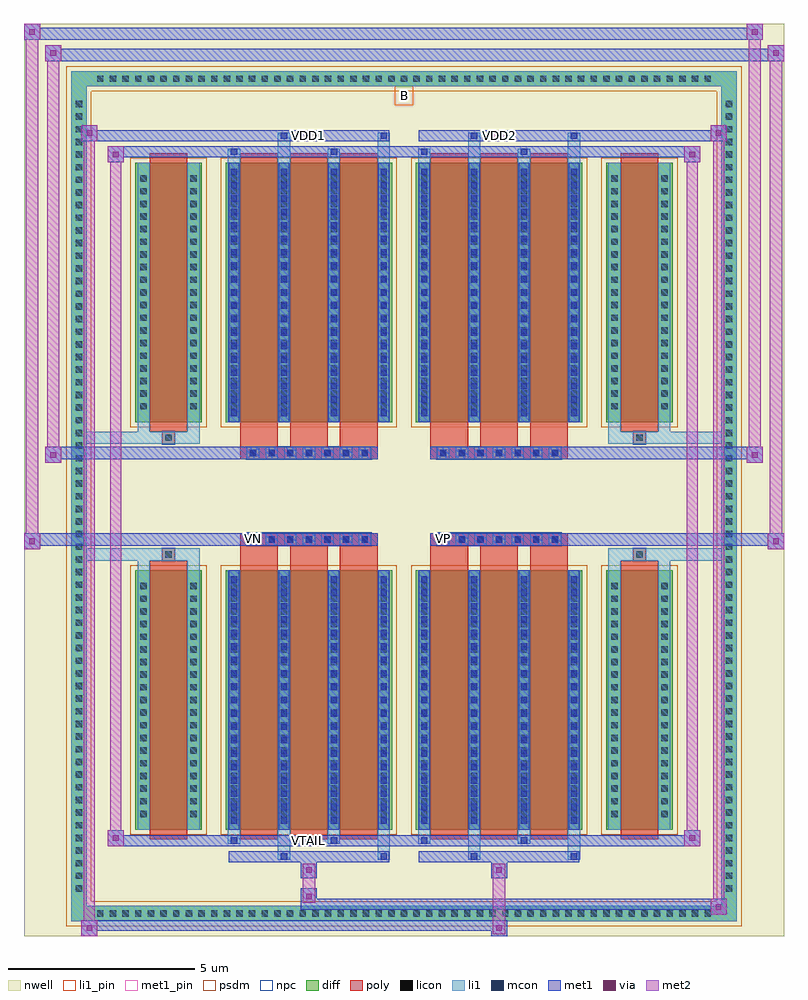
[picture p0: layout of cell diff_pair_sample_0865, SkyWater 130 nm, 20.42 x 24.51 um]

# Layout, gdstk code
import gdstk
lib = gdstk.Library(unit=1e-6, precision=5e-09)
def R(c, l, rs):  # rectangles x0, y0, x1, y1
    for r in rs: c.add(gdstk.rectangle(r[:2], r[2:], *l))
def A(c, l, x, y, w, h, nx, ny, dx, dy):  # array of equal rectangles
    R(c, l, [(x+i*dx, y+j*dy, x+i*dx+w, y+j*dy+h) for i in range(nx) for j in range(ny)])
def P(c, l, *ps):  # polygons
    for p in ps: c.add(gdstk.Polygon(p, *l))
nwell = (64, 20)
diff = (65, 20)
poly = (66, 20)
licon = (66, 44)
li1_pin = (67, 16)
li1 = (67, 20)
mcon = (67, 44)
met1_pin = (68, 16)
met1 = (68, 20)
via = (68, 44)
met2 = (69, 20)
psdm = (94, 20)
npc = (95, 20)

diff_pair_sample_0865 = lib.new_cell('diff_pair_sample_0865')
R(diff_pair_sample_0865, nwell, [(-10.21,-11.82,10.21,12.69), (-7.53,-10.01,-0.01,-0.795), (0.01,-10.01,7.53,-0.795), (-7.53,0.795,-0.01,10.01), (0.01,0.795,7.53,10.01)])
A(diff_pair_sample_0865, diff, -8.365, -11.42, 0.41, 0.41, 49, 2, 0.34, 22.43)
A(diff_pair_sample_0865, diff, -8.94, -10.745, 0.41, 0.41, 1, 63, 0, 0.34)
A(diff_pair_sample_0865, diff, 8.53, -10.745, 0.41, 0.41, 1, 63, 0, 0.34)
R(diff_pair_sample_0865, diff, [(-8.365,-11.42,8.365,-11.01), (-8.94,-10.745,-8.53,10.745), (8.53,-10.745,8.94,10.745), (-7.22,-8.965,-5.43,-1.985), (-4.79,-8.965,-0.32,-1.985), (0.32,-8.965,4.79,-1.985), (5.43,-8.965,7.22,-1.985), (-7.22,1.985,-5.43,8.965), (-4.79,1.985,-0.32,8.965), (0.32,1.985,4.79,8.965), (5.43,1.985,7.22,8.965), (-8.365,11.01,8.365,11.42)])
P(diff_pair_sample_0865, diff, [(8.94,11.42),(-8.94,11.42),(-8.94,-11.01),(-8.53,-11.01),(-8.53,11.01),(8.53,11.01),(8.53,-11.01),(-8.53,-11.01),(-8.94,-11.01),(-8.94,-11.42),(8.94,-11.42)])
A(diff_pair_sample_0865, poly, -4.4, -9.215, 1.01, 7.48, 3, 2, 1.34, 10.95)
A(diff_pair_sample_0865, poly, 0.71, -9.215, 1.01, 7.48, 3, 2, 1.34, 10.95)
A(diff_pair_sample_0865, poly, -4.4, -1.735, 1.01, 0.41, 3, 2, 1.34, 3.06)
A(diff_pair_sample_0865, poly, 0.71, -1.735, 1.01, 0.41, 3, 2, 1.34, 3.06)
A(diff_pair_sample_0865, poly, -4.22, -1.325, 0.33, 0.33, 7, 2, 0.5, 2.32)
A(diff_pair_sample_0865, poly, 0.89, -1.325, 0.33, 0.33, 7, 2, 0.5, 2.32)
R(diff_pair_sample_0865, poly, [(-6.83,-9.215,-5.82,-1.735), (5.82,-9.215,6.83,-1.735), (-6.49,-1.735,-6.16,-1.405), (-6.49,-1.735,-6.16,-1.405), (6.16,-1.735,6.49,-1.405), (6.16,-1.735,6.49,-1.405), (-4.4,-1.325,-0.71,-0.995), (0.71,-1.325,4.4,-0.995), (-4.4,0.995,-0.71,1.325), (0.71,0.995,4.4,1.325), (-6.49,1.405,-6.16,1.735), (-6.49,1.405,-6.16,1.735), (6.16,1.405,6.49,1.735), (6.16,1.405,6.49,1.735), (-6.83,1.735,-5.82,9.215), (5.82,1.735,6.83,9.215)])
A(diff_pair_sample_0865, licon, -8.245, -11.3, 0.17, 0.17, 49, 2, 0.34, 22.43)
A(diff_pair_sample_0865, licon, -8.82, -10.625, 0.17, 0.17, 1, 63, 0, 0.34)
A(diff_pair_sample_0865, licon, 8.65, -10.625, 0.17, 0.17, 1, 63, 0, 0.34)
A(diff_pair_sample_0865, licon, -7.08, -8.62, 0.17, 0.17, 1, 19, 0, 0.34)
A(diff_pair_sample_0865, licon, -5.74, -8.62, 0.17, 0.17, 1, 19, 0, 0.34)
A(diff_pair_sample_0865, licon, -4.65, -8.62, 0.17, 0.17, 4, 19, 1.34, 0.34)
A(diff_pair_sample_0865, licon, 0.46, -8.62, 0.17, 0.17, 4, 19, 1.34, 0.34)
A(diff_pair_sample_0865, licon, 5.57, -8.62, 0.17, 0.17, 1, 19, 0, 0.34)
A(diff_pair_sample_0865, licon, 6.91, -8.62, 0.17, 0.17, 1, 19, 0, 0.34)
A(diff_pair_sample_0865, licon, -4.14, -1.245, 0.17, 0.17, 7, 2, 0.5, 2.32)
A(diff_pair_sample_0865, licon, 0.97, -1.245, 0.17, 0.17, 7, 2, 0.5, 2.32)
A(diff_pair_sample_0865, licon, -7.08, 2.33, 0.17, 0.17, 1, 19, 0, 0.34)
A(diff_pair_sample_0865, licon, -5.74, 2.33, 0.17, 0.17, 1, 19, 0, 0.34)
A(diff_pair_sample_0865, licon, -4.65, 2.33, 0.17, 0.17, 4, 19, 1.34, 0.34)
A(diff_pair_sample_0865, licon, 0.46, 2.33, 0.17, 0.17, 4, 19, 1.34, 0.34)
A(diff_pair_sample_0865, licon, 5.57, 2.33, 0.17, 0.17, 1, 19, 0, 0.34)
A(diff_pair_sample_0865, licon, 6.91, 2.33, 0.17, 0.17, 1, 19, 0, 0.34)
R(diff_pair_sample_0865, licon, [(-6.41,-1.655,-6.24,-1.485), (6.24,-1.655,6.41,-1.485), (-6.41,1.485,-6.24,1.655), (6.24,1.485,6.41,1.655)])
R(diff_pair_sample_0865, li1_pin, [(-0.25,10.51,0.25,11.01)])
A(diff_pair_sample_0865, li1, -8.325, -11.38, 0.33, 0.33, 49, 2, 0.34, 22.43)
A(diff_pair_sample_0865, li1, -8.9, -10.705, 0.33, 0.33, 1, 63, 0, 0.34)
A(diff_pair_sample_0865, li1, 8.57, -10.705, 0.33, 0.33, 1, 63, 0, 0.34)
A(diff_pair_sample_0865, li1, -4.73, -8.965, 0.33, 6.98, 4, 2, 1.34, 10.95)
A(diff_pair_sample_0865, li1, 0.38, -8.965, 0.33, 6.98, 4, 2, 1.34, 10.95)
A(diff_pair_sample_0865, li1, -4.65, -8.8, 0.17, 0.17, 4, 19, 1.34, 0.36)
A(diff_pair_sample_0865, li1, -4.65, -8.8, 0.17, 6.65, 4, 2, 1.34, 10.95)
A(diff_pair_sample_0865, li1, 0.46, -8.8, 0.17, 0.17, 4, 19, 1.34, 0.36)
A(diff_pair_sample_0865, li1, 0.46, -8.8, 0.17, 6.65, 4, 2, 1.34, 10.95)
A(diff_pair_sample_0865, li1, -7.16, -8.7, 0.33, 0.33, 1, 19, 0, 0.34)
A(diff_pair_sample_0865, li1, -5.82, -8.7, 0.33, 0.33, 1, 19, 0, 0.34)
A(diff_pair_sample_0865, li1, -4.73, -8.7, 0.33, 0.33, 4, 19, 1.34, 0.34)
A(diff_pair_sample_0865, li1, 0.38, -8.7, 0.33, 0.33, 4, 19, 1.34, 0.34)
A(diff_pair_sample_0865, li1, 5.49, -8.7, 0.33, 0.33, 1, 19, 0, 0.34)
A(diff_pair_sample_0865, li1, 6.83, -8.7, 0.33, 0.33, 1, 19, 0, 0.34)
A(diff_pair_sample_0865, li1, -4.22, -1.325, 0.33, 0.33, 7, 2, 0.5, 2.32)
A(diff_pair_sample_0865, li1, 0.89, -1.325, 0.33, 0.33, 7, 2, 0.5, 2.32)
A(diff_pair_sample_0865, li1, -4.65, 2.15, 0.17, 0.17, 4, 19, 1.34, 0.36)
A(diff_pair_sample_0865, li1, 0.46, 2.15, 0.17, 0.17, 4, 19, 1.34, 0.36)
A(diff_pair_sample_0865, li1, -7.16, 2.25, 0.33, 0.33, 1, 19, 0, 0.34)
A(diff_pair_sample_0865, li1, -5.82, 2.25, 0.33, 0.33, 1, 19, 0, 0.34)
A(diff_pair_sample_0865, li1, -4.73, 2.25, 0.33, 0.33, 4, 19, 1.34, 0.34)
A(diff_pair_sample_0865, li1, 0.38, 2.25, 0.33, 0.33, 4, 19, 1.34, 0.34)
A(diff_pair_sample_0865, li1, 5.49, 2.25, 0.33, 0.33, 1, 19, 0, 0.34)
A(diff_pair_sample_0865, li1, 6.83, 2.25, 0.33, 0.33, 1, 19, 0, 0.34)
R(diff_pair_sample_0865, li1, [(-8.94,-11.42,-8.53,-11.01), (-8.94,-11.42,-8.53,-11.01), (-8.53,-11.42,8.53,-11.01), (8.53,-11.42,8.94,-11.01), (8.53,-11.42,8.94,-11.01), (-8.94,-11.01,-8.53,11.01), (8.53,-11.01,8.94,11.01), (-3.39,-9.77,-3.06,-8.965), (-3.31,-9.77,-3.14,-9.6), (-0.71,-9.77,-0.38,-8.965), (-0.63,-9.77,-0.46,-9.6), (1.72,-9.77,2.05,-8.965), (1.8,-9.77,1.97,-9.6), (4.4,-9.77,4.73,-8.965), (4.48,-9.77,4.65,-9.6), (-4.73,-9.34,-4.4,-8.965), (-4.65,-9.34,-4.48,-9.17), (-2.05,-9.34,-1.72,-8.965), (-1.97,-9.34,-1.8,-9.17), (0.38,-9.34,0.71,-8.965), (0.46,-9.34,0.63,-9.17), (3.06,-9.34,3.39,-8.965), (3.14,-9.34,3.31,-9.17), (-7.16,-8.965,-6.83,-1.985), (-5.82,-8.965,-5.49,-1.985), (5.49,-8.965,5.82,-1.985), (6.83,-8.965,7.16,-1.985), (-7.16,-1.985,-6.83,-1.405), (-5.82,-1.985,-5.49,-1.405), (5.49,-1.985,5.82,-1.405), (6.83,-1.985,7.16,-1.405), (-8.94,-1.735,-6.49,-1.405), (-7.16,-1.735,-6.49,-1.405), (-6.49,-1.735,-6.16,-1.405), (-6.16,-1.735,-5.49,-1.405), (5.49,-1.735,6.16,-1.405), (6.16,-1.735,6.49,-1.405), (6.16,-1.735,8.94,-1.405), (6.49,-1.735,7.16,-1.405), (-8.94,1.405,-6.49,1.735), (-7.16,1.405,-6.49,1.735), (-7.16,1.405,-6.83,1.985), (-6.49,1.405,-6.16,1.735), (-6.16,1.405,-5.49,1.735), (-5.82,1.405,-5.49,1.985), (5.49,1.405,6.16,1.735), (5.49,1.405,5.82,1.985), (6.16,1.405,6.49,1.735), (6.16,1.405,8.94,1.735), (6.49,1.405,7.16,1.735), (6.83,1.405,7.16,1.985), (-7.16,1.985,-6.83,8.965), (-5.82,1.985,-5.49,8.965), (5.49,1.985,5.82,8.965), (6.83,1.985,7.16,8.965), (-4.73,8.965,-4.4,9.34), (-3.39,8.965,-3.06,9.77), (-2.05,8.965,-1.72,9.34), (-0.71,8.965,-0.38,9.77), (0.38,8.965,0.71,9.34), (1.72,8.965,2.05,9.77), (3.06,8.965,3.39,9.34), (4.4,8.965,4.73,9.77), (-4.65,9.17,-4.48,9.34), (-1.97,9.17,-1.8,9.34), (0.46,9.17,0.63,9.34), (3.14,9.17,3.31,9.34), (-3.31,9.6,-3.14,9.77), (-0.63,9.6,-0.46,9.77), (1.8,9.6,1.97,9.77), (4.48,9.6,4.65,9.77), (-8.94,11.01,-8.53,11.42), (-8.94,11.01,-8.53,11.42), (-8.53,11.01,8.53,11.42), (8.53,11.01,8.94,11.42), (8.53,11.01,8.94,11.42)])
A(diff_pair_sample_0865, mcon, -4.65, -8.8, 0.17, 0.17, 4, 19, 1.34, 0.36)
A(diff_pair_sample_0865, mcon, 0.46, -8.8, 0.17, 0.17, 4, 19, 1.34, 0.36)
A(diff_pair_sample_0865, mcon, -4.14, -1.245, 0.17, 0.17, 7, 2, 0.5, 2.32)
A(diff_pair_sample_0865, mcon, 0.97, -1.245, 0.17, 0.17, 7, 2, 0.5, 2.32)
A(diff_pair_sample_0865, mcon, -4.65, 2.15, 0.17, 0.17, 4, 19, 1.34, 0.36)
A(diff_pair_sample_0865, mcon, 0.46, 2.15, 0.17, 0.17, 4, 19, 1.34, 0.36)
R(diff_pair_sample_0865, mcon, [(-3.31,-9.77,-3.14,-9.6), (-0.63,-9.77,-0.46,-9.6), (1.8,-9.77,1.97,-9.6), (4.48,-9.77,4.65,-9.6), (-4.65,-9.34,-4.48,-9.17), (-1.97,-9.34,-1.8,-9.17), (0.46,-9.34,0.63,-9.17), (3.14,-9.34,3.31,-9.17), (-4.65,9.17,-4.48,9.34), (-1.97,9.17,-1.8,9.34), (0.46,9.17,0.63,9.34), (3.14,9.17,3.31,9.34), (-3.31,9.6,-3.14,9.77), (-0.63,9.6,-0.46,9.77), (1.8,9.6,1.97,9.77), (4.48,9.6,4.65,9.77)])
R(diff_pair_sample_0865, met1_pin, [(-2.69,-9.38,-2.42,-9.11), (-4.19,-1.285,-3.92,-1.015), (0.92,-1.285,1.19,-1.015), (-2.69,9.56,-2.42,9.83), (2.42,9.56,2.69,9.83)])
A(diff_pair_sample_0865, met1, -4.71, -8.965, 0.29, 6.98, 4, 2, 1.34, 10.95)
A(diff_pair_sample_0865, met1, 0.4, -8.965, 0.29, 6.98, 4, 2, 1.34, 10.95)
A(diff_pair_sample_0865, met1, -4.71, -8.86, 0.29, 0.29, 4, 19, 1.34, 0.36)
A(diff_pair_sample_0865, met1, 0.4, -8.86, 0.29, 0.29, 4, 19, 1.34, 0.36)
A(diff_pair_sample_0865, met1, -4.2, -1.305, 0.29, 0.29, 7, 2, 0.5, 2.32)
A(diff_pair_sample_0865, met1, 0.91, -1.305, 0.29, 0.29, 7, 2, 0.5, 2.32)
A(diff_pair_sample_0865, met1, -4.71, 2.09, 0.29, 0.29, 4, 19, 1.34, 0.36)
A(diff_pair_sample_0865, met1, 0.4, 2.09, 0.29, 0.29, 4, 19, 1.34, 0.36)
R(diff_pair_sample_0865, met1, [(-8.67,-11.82,-8.24,-11.39), (2.34,-11.82,2.77,-11.39), (-8.67,-11.68,2.77,-11.39), (8.24,-11.25,8.67,-10.82), (-2.77,-11.11,8.67,-10.82), (-2.77,-10.97,-2.34,-10.54), (-2.77,-10.26,-2.34,-9.83), (2.34,-10.26,2.77,-9.83), (-4.71,-9.83,-0.4,-9.54), (-3.37,-9.83,-3.08,-9.54), (-0.69,-9.83,-0.4,-9.54), (0.4,-9.83,4.71,-9.54), (1.74,-9.83,2.03,-9.54), (4.42,-9.83,4.71,-9.54), (-7.96,-9.4,-7.53,-8.97), (-7.96,-9.4,-4.71,-9.11), (-4.71,-9.4,-4.42,-9.11), (-4.71,-9.4,-0.4,-9.11), (-2.03,-9.4,-1.74,-9.11), (-0.4,-9.4,0.4,-9.11), (0.4,-9.4,0.69,-9.11), (0.4,-9.4,4.71,-9.11), (3.08,-9.4,3.37,-9.11), (4.71,-9.4,7.96,-9.11), (7.53,-9.4,7.96,-8.97), (-10.21,-1.425,-9.78,-0.995), (9.78,-1.425,10.21,-0.995), (-10.21,-1.325,-0.71,-0.995), (-4.4,-1.325,-0.71,-0.995), (0.71,-1.325,4.4,-0.995), (0.71,-1.325,10.21,-0.995), (-9.64,0.895,-9.21,1.325), (9.21,0.895,9.64,1.325), (-9.64,0.995,-4.4,1.325), (-4.4,0.995,-0.71,1.325), (0.71,0.995,4.4,1.325), (4.4,0.995,9.64,1.325), (-7.96,8.97,-7.53,9.4), (7.53,8.97,7.96,9.4), (-7.96,9.11,-4.71,9.4), (-4.71,9.11,-4.42,9.4), (-4.71,9.11,-0.4,9.4), (-2.03,9.11,-1.74,9.4), (-0.4,9.11,0.4,9.4), (0.4,9.11,0.69,9.4), (0.4,9.11,4.71,9.4), (3.08,9.11,3.37,9.4), (4.71,9.11,7.96,9.4), (-8.67,9.54,-8.24,9.97), (-8.67,9.54,-4.71,9.83), (-4.71,9.54,-0.4,9.83), (-3.37,9.54,-3.08,9.83), (-0.69,9.54,-0.4,9.83), (0.4,9.54,4.71,9.83), (1.74,9.54,2.03,9.83), (4.42,9.54,4.71,9.83), (4.71,9.54,8.67,9.83), (8.24,9.54,8.67,9.97), (-9.64,11.69,-9.21,12.12), (-9.64,11.69,-7.53,12.02), (-7.53,11.69,7.53,12.02), (7.53,11.69,10.21,12.02), (9.78,11.69,10.21,12.12), (-10.21,12.26,-9.78,12.69), (-10.21,12.26,-7.53,12.59), (-7.53,12.26,7.53,12.59), (7.53,12.26,9.64,12.59), (9.21,12.26,9.64,12.69)])
R(diff_pair_sample_0865, via, [(-8.53,-11.68,-8.38,-11.53), (2.48,-11.68,2.63,-11.53), (8.38,-11.11,8.53,-10.96), (-2.63,-10.83,-2.48,-10.68), (-2.63,-10.12,-2.48,-9.97), (2.48,-10.12,2.63,-9.97), (-7.82,-9.26,-7.67,-9.11), (7.67,-9.26,7.82,-9.11), (-10.07,-1.285,-9.92,-1.135), (9.92,-1.285,10.07,-1.135), (-9.5,1.035,-9.35,1.185), (9.35,1.035,9.5,1.185), (-7.82,9.11,-7.67,9.26), (7.67,9.11,7.82,9.26), (-8.53,9.68,-8.38,9.83), (8.38,9.68,8.53,9.83), (-9.5,11.83,-9.35,11.98), (9.92,11.83,10.07,11.98), (-10.07,12.4,-9.92,12.55), (9.35,12.4,9.5,12.55)])
R(diff_pair_sample_0865, met2, [(-8.67,-11.82,-8.24,-11.39), (-8.6,-11.82,-8.31,9.97), (-8.31,-11.82,-8.24,-11.39), (-8.62,-11.77,-8.29,-11.44), (2.39,-11.77,2.72,-11.44), (2.39,-11.44,2.72,-10.21), (8.24,-11.25,8.67,-10.82), (8.31,-11.25,8.6,9.97), (8.6,-11.25,8.67,-10.82), (8.29,-11.2,8.62,-10.87), (-2.72,-10.92,-2.39,-10.59), (-2.72,-10.59,-2.39,-10.21), (-2.72,-10.21,-2.39,-9.88), (2.39,-10.21,2.72,-9.88), (-7.96,-9.4,-7.53,-8.97), (-7.89,-9.4,-7.6,9.4), (-7.6,-9.4,-7.53,-8.97), (7.53,-9.4,7.96,-8.97), (7.6,-9.4,7.89,9.4), (7.89,-9.4,7.96,-8.97), (-7.91,-9.35,-7.58,-9.02), (7.58,-9.35,7.91,-9.02), (-10.21,-1.425,-9.78,-0.995), (-10.16,-1.425,-9.83,12.69), (-9.83,-1.425,-9.78,-0.995), (9.78,-1.425,10.21,-0.995), (9.83,-1.425,10.16,12.12), (10.16,-1.425,10.21,-0.995), (-10.16,-1.375,-9.83,-1.045), (9.83,-1.375,10.16,-1.045), (-9.64,0.895,-9.21,1.325), (-9.59,0.895,-9.26,12.12), (-9.26,0.895,-9.21,1.325), (9.21,0.895,9.64,1.325), (9.26,0.895,9.59,12.69), (9.59,0.895,9.64,1.325), (-9.59,0.945,-9.26,1.275), (9.26,0.945,9.59,1.275), (-7.96,8.97,-7.53,9.4), (-7.6,8.97,-7.53,9.4), (7.53,8.97,7.96,9.4), (7.89,8.97,7.96,9.4), (-7.91,9.02,-7.58,9.35), (7.58,9.02,7.91,9.35), (-8.67,9.54,-8.24,9.97), (-8.31,9.54,-8.24,9.97), (8.24,9.54,8.67,9.97), (8.6,9.54,8.67,9.97), (-8.62,9.59,-8.29,9.92), (8.29,9.59,8.62,9.92), (-9.64,11.69,-9.21,12.12), (-9.26,11.69,-9.21,12.12), (9.78,11.69,10.21,12.12), (10.16,11.69,10.21,12.12), (-9.59,11.74,-9.26,12.07), (9.83,11.74,10.16,12.07), (-10.21,12.26,-9.78,12.69), (-9.83,12.26,-9.78,12.69), (9.21,12.26,9.64,12.69), (9.59,12.26,9.64,12.69), (-10.16,12.31,-9.83,12.64), (9.26,12.31,9.59,12.64)])
R(diff_pair_sample_0865, psdm, [(-7.35,-9.095,-5.3,-1.855), (-4.92,-9.095,-0.19,-1.855), (0.19,-9.095,4.92,-1.855), (5.3,-9.095,7.35,-1.855), (-7.35,1.855,-5.3,9.095), (-4.92,1.855,-0.19,9.095), (0.19,1.855,4.92,9.095), (5.3,1.855,7.35,9.095)])
P(diff_pair_sample_0865, psdm, [(9.07,11.55),(-9.07,11.55),(-9.07,-10.88),(-8.4,-10.88),(-8.4,10.88),(8.4,10.88),(8.4,-10.88),(-8.4,-10.88),(-9.07,-10.88),(-9.07,-11.55),(9.07,-11.55)])
A(diff_pair_sample_0865, npc, -4.24, -1.345, 0.37, 0.37, 7, 2, 0.5, 2.32)
A(diff_pair_sample_0865, npc, 0.87, -1.345, 0.37, 0.37, 7, 2, 0.5, 2.32)
R(diff_pair_sample_0865, npc, [(-6.51,-1.755,-6.14,-1.385), (6.14,-1.755,6.51,-1.385), (-4.24,-1.345,-3.37,-0.975), (-4.24,-1.345,-3.37,-0.975), (-3.74,-1.345,-2.87,-0.975), (-3.74,-1.345,-2.87,-0.975), (-3.24,-1.345,-2.37,-0.975), (-3.24,-1.345,-2.37,-0.975), (-2.74,-1.345,-1.87,-0.975), (-2.74,-1.345,-1.87,-0.975), (-2.24,-1.345,-1.37,-0.975), (-2.24,-1.345,-1.37,-0.975), (-1.74,-1.345,-0.87,-0.975), (-1.74,-1.345,-0.87,-0.975), (0.87,-1.345,1.74,-0.975), (0.87,-1.345,1.74,-0.975), (1.37,-1.345,2.24,-0.975), (1.37,-1.345,2.24,-0.975), (1.87,-1.345,2.74,-0.975), (1.87,-1.345,2.74,-0.975), (2.37,-1.345,3.24,-0.975), (2.37,-1.345,3.24,-0.975), (2.87,-1.345,3.74,-0.975), (2.87,-1.345,3.74,-0.975), (3.37,-1.345,4.24,-0.975), (3.37,-1.345,4.24,-0.975), (-4.24,0.975,-3.37,1.345), (-4.24,0.975,-3.37,1.345), (-3.74,0.975,-2.87,1.345), (-3.74,0.975,-2.87,1.345), (-3.24,0.975,-2.37,1.345), (-3.24,0.975,-2.37,1.345), (-2.74,0.975,-1.87,1.345), (-2.74,0.975,-1.87,1.345), (-2.24,0.975,-1.37,1.345), (-2.24,0.975,-1.37,1.345), (-1.74,0.975,-0.87,1.345), (-1.74,0.975,-0.87,1.345), (0.87,0.975,1.74,1.345), (0.87,0.975,1.74,1.345), (1.37,0.975,2.24,1.345), (1.37,0.975,2.24,1.345), (1.87,0.975,2.74,1.345), (1.87,0.975,2.74,1.345), (2.37,0.975,3.24,1.345), (2.37,0.975,3.24,1.345), (2.87,0.975,3.74,1.345), (2.87,0.975,3.74,1.345), (3.37,0.975,4.24,1.345), (3.37,0.975,4.24,1.345), (-6.51,1.385,-6.14,1.755), (6.14,1.385,6.51,1.755)])
diff_pair_sample_0865.add(gdstk.Label('VTAIL', (-2.555,-9.245), layer=68, texttype=5))
diff_pair_sample_0865.add(gdstk.Label('VN', (-4.055,-1.15), layer=68, texttype=5))
diff_pair_sample_0865.add(gdstk.Label('VP', (1.055,-1.15), layer=68, texttype=5))
diff_pair_sample_0865.add(gdstk.Label('B', (0,10.76), layer=67, texttype=5))
diff_pair_sample_0865.add(gdstk.Label('VDD2', (2.555,9.695), layer=68, texttype=5))
diff_pair_sample_0865.add(gdstk.Label('VDD1', (-2.555,9.695), layer=68, texttype=5))

lib.write_gds('diff_pair_sample_0865.gds')
